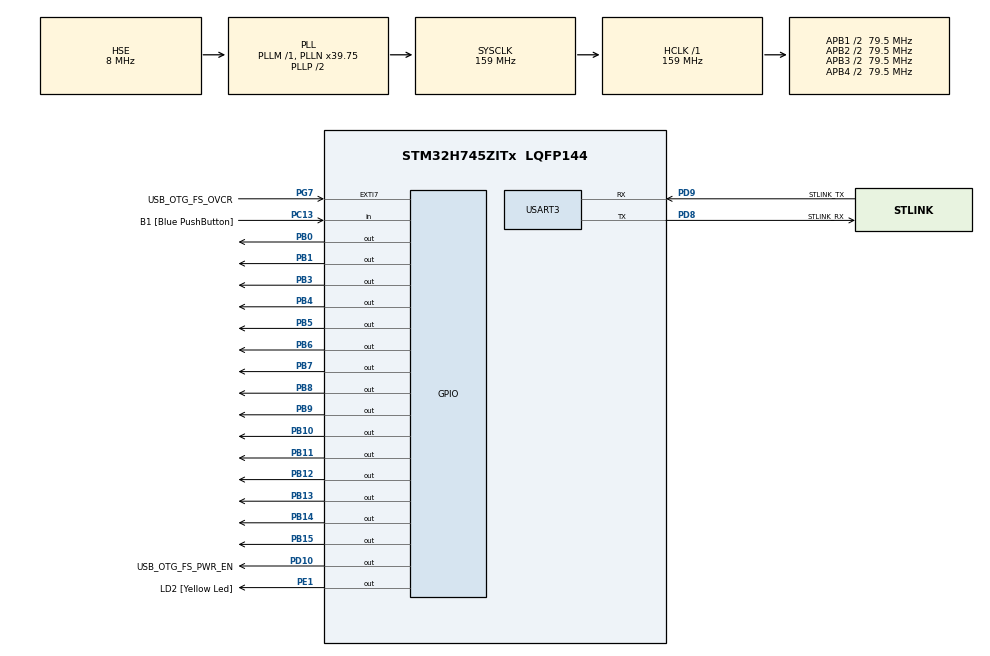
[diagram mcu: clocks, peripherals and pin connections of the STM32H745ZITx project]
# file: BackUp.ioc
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CortexM4.IPs=FATFS_M4\:I,FREERTOS_M4\:I,IWDG2\:I,RCC,WWDG2\:I,DMA,BDMA,MDMA,NVIC2\:I,USART3,DEBUG,USB_DEVICE_M4\:I,USB_HOST_M4\:I,PDM2PCM_M4\:I,PWR,RESMGR_UTILITY,SYS_M4\:I,CORTEX_M4\:I,OPENAMP_M4\:I,VREFBUF,GPIO
CortexM7.IPs=FATFS_M7\:I,FREERTOS_M7\:I,IWDG1\:I,RCC\:I,WWDG1\:I,DMA\:I,BDMA\:I,MDMA\:I,NVIC1\:I,SYS\:I,USART3\:I,CORTEX_M7\:I,DEBUG\:I,USB_DEVICE_M7\:I,USB_HOST_M7\:I,PDM2PCM_M7\:I,PWR\:I,RESMGR_UTILITY\:I,OPENAMP_M7\:I,VREFBUF\:I,GPIO\:I,TIM3\:I
CortexM7.Pins=PB0,PB1,PB10,PB11,PB12,PB13,PB14,PB15,PB3 (JTDO/TRACESWO),PB4 (NJTRST),PB5,PB6,PB7,PB8,PB9
Dma.Request0=TIM3_CH1
Dma.TIM3_CH1.0.Direction=DMA_MEMORY_TO_PERIPH
Dma.TIM3_CH1.0.EventEnable=DISABLE
Dma.TIM3_CH1.0.FIFOMode=DMA_FIFOMODE_DISABLE
Dma.TIM3_CH1.0.Instance=DMA1_Stream0
Dma.TIM3_CH1.0.MemDataAlignment=DMA_MDATAALIGN_HALFWORD
Dma.TIM3_CH1.0.MemInc=DMA_MINC_ENABLE
Dma.TIM3_CH1.0.Mode=DMA_CIRCULAR
Dma.TIM3_CH1.0.PeriphDataAlignment=DMA_PDATAALIGN_HALFWORD
Dma.TIM3_CH1.0.PeriphInc=DMA_PINC_DISABLE
Dma.TIM3_CH1.0.Polarity=HAL_DMAMUX_REQ_GEN_RISING
Dma.TIM3_CH1.0.Priority=DMA_PRIORITY_VERY_HIGH
Dma.TIM3_CH1.0.RequestNumber=1
Dma.TIM3_CH1.0.SignalID=NONE
Dma.TIM3_CH1.0.SyncEnable=ENABLE
Dma.TIM3_CH1.0.SyncPolarity=HAL_DMAMUX_SYNC_RISING
Dma.TIM3_CH1.0.SyncRequestNumber=1
Dma.TIM3_CH1.0.SyncSignalID=NONE
Mcu.Family=STM32H7
Mcu.Name=STM32H745ZITx
Mcu.Package=LQFP144
NVIC1.DMA1_Stream0_IRQn=true\:0\:0\:false\:false\:true\:false\:true\:true
NVIC1.PriorityGroup=NVIC_PRIORITYGROUP_4
NVIC2.PriorityGroup=NVIC_PRIORITYGROUP_4
PB0.GPIO_ModeDefaultOutputPP=GPIO_MODE_OUTPUT_PP
PB0.GPIO_PuPd=GPIO_NOPULL
PB0.GPIO_Speed=GPIO_SPEED_FREQ_VERY_HIGH
PB0.PinAttribute=CortexM7
PB0.PinState=GPIO_PIN_SET
PB0.Signal=GPIO_Output
PB1.GPIO_ModeDefaultOutputPP=GPIO_MODE_OUTPUT_PP
PB1.GPIO_PuPd=GPIO_NOPULL
PB1.GPIO_Speed=GPIO_SPEED_FREQ_VERY_HIGH
PB1.PinAttribute=CortexM7
PB1.PinState=GPIO_PIN_SET
PB1.Signal=GPIO_Output
PB10.GPIO_ModeDefaultOutputPP=GPIO_MODE_OUTPUT_PP
PB10.GPIO_PuPd=GPIO_NOPULL
PB10.GPIO_Speed=GPIO_SPEED_FREQ_VERY_HIGH
PB10.PinAttribute=CortexM7
PB10.PinState=GPIO_PIN_RESET
PB10.Signal=GPIO_Output
PB11.GPIO_ModeDefaultOutputPP=GPIO_MODE_OUTPUT_PP
PB11.GPIO_PuPd=GPIO_NOPULL
PB11.GPIO_Speed=GPIO_SPEED_FREQ_VERY_HIGH
PB11.PinAttribute=CortexM7
PB11.PinState=GPIO_PIN_RESET
PB11.Signal=GPIO_Output
PB12.GPIO_ModeDefaultOutputPP=GPIO_MODE_OUTPUT_PP
PB12.GPIO_PuPd=GPIO_NOPULL
PB12.GPIO_Speed=GPIO_SPEED_FREQ_VERY_HIGH
PB12.PinAttribute=CortexM7
PB12.PinState=GPIO_PIN_RESET
PB12.Signal=GPIO_Output
PB13.GPIO_ModeDefaultOutputPP=GPIO_MODE_OUTPUT_PP
PB13.GPIO_PuPd=GPIO_NOPULL
PB13.GPIO_Speed=GPIO_SPEED_FREQ_VERY_HIGH
PB13.PinAttribute=CortexM7
PB13.PinState=GPIO_PIN_RESET
PB13.Signal=GPIO_Output
PB14.GPIO_ModeDefaultOutputPP=GPIO_MODE_OUTPUT_PP
PB14.GPIO_PuPd=GPIO_NOPULL
PB14.GPIO_Speed=GPIO_SPEED_FREQ_VERY_HIGH
PB14.PinAttribute=CortexM7
PB14.PinState=GPIO_PIN_RESET
PB14.Signal=GPIO_Output
PB15.GPIO_ModeDefaultOutputPP=GPIO_MODE_OUTPUT_PP
PB15.GPIO_PuPd=GPIO_NOPULL
PB15.GPIO_Speed=GPIO_SPEED_FREQ_VERY_HIGH
PB15.PinAttribute=CortexM7
PB15.PinState=GPIO_PIN_RESET
PB15.Signal=GPIO_Output
PB3\ (JTDO/TRACESWO).GPIO_ModeDefaultOutputPP=GPIO_MODE_OUTPUT_PP
PB3\ (JTDO/TRACESWO).GPIO_PuPd=GPIO_NOPULL
PB3\ (JTDO/TRACESWO).GPIO_Speed=GPIO_SPEED_FREQ_VERY_HIGH
PB3\ (JTDO/TRACESWO).PinAttribute=CortexM7
PB3\ (JTDO/TRACESWO).PinState=GPIO_PIN_RESET
PB3\ (JTDO/TRACESWO).Signal=GPIO_Output
PB4\ (NJTRST).GPIO_ModeDefaultOutputPP=GPIO_MODE_OUTPUT_PP
PB4\ (NJTRST).GPIO_PuPd=GPIO_NOPULL
PB4\ (NJTRST).GPIO_Speed=GPIO_SPEED_FREQ_VERY_HIGH
PB4\ (NJTRST).PinAttribute=CortexM7
PB4\ (NJTRST).PinState=GPIO_PIN_RESET
PB4\ (NJTRST).Signal=GPIO_Output
PB5.GPIO_ModeDefaultOutputPP=GPIO_MODE_OUTPUT_PP
PB5.GPIO_PuPd=GPIO_NOPULL
PB5.GPIO_Speed=GPIO_SPEED_FREQ_VERY_HIGH
PB5.PinAttribute=CortexM7
PB5.PinState=GPIO_PIN_RESET
PB5.Signal=GPIO_Output
PB6.GPIO_ModeDefaultOutputPP=GPIO_MODE_OUTPUT_PP
PB6.GPIO_PuPd=GPIO_NOPULL
PB6.GPIO_Speed=GPIO_SPEED_FREQ_VERY_HIGH
PB6.PinAttribute=CortexM7
PB6.PinState=GPIO_PIN_RESET
PB6.Signal=GPIO_Output
PB7.GPIO_ModeDefaultOutputPP=GPIO_MODE_OUTPUT_PP
PB7.GPIO_PuPd=GPIO_NOPULL
PB7.GPIO_Speed=GPIO_SPEED_FREQ_VERY_HIGH
PB7.PinAttribute=CortexM7
PB7.PinState=GPIO_PIN_RESET
PB7.Signal=GPIO_Output
PB8.GPIO_ModeDefaultOutputPP=GPIO_MODE_OUTPUT_PP
PB8.GPIO_PuPd=GPIO_NOPULL
PB8.GPIO_Speed=GPIO_SPEED_FREQ_VERY_HIGH
PB8.PinAttribute=CortexM7
PB8.PinState=GPIO_PIN_RESET
PB8.Signal=GPIO_Output
PB9.GPIO_ModeDefaultOutputPP=GPIO_MODE_OUTPUT_PP
PB9.GPIO_PuPd=GPIO_NOPULL
PB9.GPIO_Speed=GPIO_SPEED_FREQ_VERY_HIGH
PB9.PinAttribute=CortexM7
PB9.PinState=GPIO_PIN_RESET
PB9.Signal=GPIO_Output
PC13.GPIO_Label=B1 [Blue PushButton]
PC13.PinAttribute=Free
PC13.Signal=GPIO_Input
PC14-OSC32_IN\ (OSC32_IN).Mode=LSE-External-Oscillator
PC14-OSC32_IN\ (OSC32_IN).PinAttribute=CortexM7
PC14-OSC32_IN\ (OSC32_IN).Signal=RCC_OSC32_IN
PC15-OSC32_OUT\ (OSC32_OUT).Mode=LSE-External-Oscillator
PC15-OSC32_OUT\ (OSC32_OUT).PinAttribute=CortexM7
PC15-OSC32_OUT\ (OSC32_OUT).Signal=RCC_OSC32_OUT
PD10.GPIO_Label=USB_OTG_FS_PWR_EN
PD10.PinAttribute=Free
PD10.Signal=GPIO_Output
PD8.GPIO_Label=STLINK_RX
PD8.Mode=Asynchronous
PD8.PinAttribute=CortexM7
PD8.Signal=USART3_TX
PD9.GPIO_Label=STLINK_TX
PD9.Mode=Asynchronous
PD9.PinAttribute=CortexM7
PD9.Signal=USART3_RX
PE1.GPIO_Label=LD2 [Yellow Led]
PE1.PinAttribute=Free
PE1.Signal=GPIO_Output
PG7.GPIO_Label=USB_OTG_FS_OVCR
PG7.PinAttribute=Free
PG7.Signal=GPXTI7
PH0-OSC_IN\ (PH0).Mode=HSE-External-Clock-Source
PH0-OSC_IN\ (PH0).PinAttribute=CortexM7
PH0-OSC_IN\ (PH0).Signal=RCC_OSC_IN
PH1-OSC_OUT\ (PH1).PinAttribute=CortexM7
PH1-OSC_OUT\ (PH1).Signal=RCC_OSC_OUT
ProjectManager.HeapSize=M4-0x200,M7-0x200
ProjectManager.StackSize=M4-0x400,M7-0x400
ProjectManager.TargetToolchain=STM32CubeIDE
RCC.ADCFreq_Value=75000000
RCC.APB1Freq_Value=79500000
RCC.APB2Freq_Value=79500000
RCC.APB3Freq_Value=79500000
RCC.APB4Freq_Value=79500000
RCC.CortexFreq_Value=159000000
RCC.D1PPRE=RCC_APB3_DIV2
RCC.D2PPRE1=RCC_APB1_DIV2
RCC.D2PPRE2=RCC_APB2_DIV2
RCC.D3PPRE=RCC_APB4_DIV2
RCC.DIVM1=1
RCC.DIVM2=1
RCC.DIVM3=1
RCC.DIVN1=39
RCC.DIVN2=18
RCC.DIVN3=18
RCC.DIVQ2=3
RCC.DIVQ3=3
RCC.HCLKFreq_Value=159000000
RCC.HSE_VALUE=8000000
RCC.PLL2FRACN=6144
RCC.PLL3FRACN=6144
RCC.PLLFRACN=6144
RCC.PLLSourceVirtual=RCC_PLLSOURCE_HSE
RCC.SYSCLKFreq_VALUE=159000000
RCC.SYSCLKSource=RCC_SYSCLKSOURCE_PLLCLK
RCC.SupplySource=PWR_DIRECT_SMPS_SUPPLY
RCC.USART234578CLockSelection=RCC_USART234578CLKSOURCE_PLL2
RCC.USBCLockSelection=RCC_USBCLKSOURCE_PLL3
RCC.USBFreq_Value=50000000
TIM3.Channel-Output\ Compare1\ No\ Output=TIM_CHANNEL_1
TIM3.Period=12
USART3.VirtualMode-Asynchronous=VM_ASYNC
VP_SYS_M4_VS_Systick.Mode=SysTick
VP_TIM3_VS_ClockSourceINT.Mode=Internal
VP_TIM3_VS_no_output1.Mode=Output Compare1 No Output
board=NUCLEO-H745ZI-Q

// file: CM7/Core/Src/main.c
/* USER CODE BEGIN Header */
/**
  ******************************************************************************
  * @file           : main.c
  * @brief          : Main program body
  ******************************************************************************
  * @attention
  *
  * Copyright (c) 2024 STMicroelectronics.
  * All rights reserved.
  *
  * This software is licensed under terms that can be found in the LICENSE file
  * in the root directory of this software component.
  * If no LICENSE file comes with this software, it is provided AS-IS.
  *
  ******************************************************************************
  */
/* USER CODE END Header */
#include "main.h"

/* USER CODE BEGIN Includes */
#include "frame.h"
/* USER CODE END Includes */

/* USER CODE BEGIN PD */

#ifndef HSEM_ID_0
#define HSEM_ID_0 (0U) /* HW semaphore 0*/
#endif

/* USER CODE END PD */

TIM_HandleTypeDef htim3;
DMA_HandleTypeDef hdma_tim3_ch1;

UART_HandleTypeDef huart3;

/* USER CODE BEGIN PV */
volatile uint16_t line = 0;
volatile uint16_t scanline[400] = {0};

/* USER CODE END PV */

void SystemClock_Config(void);
static void MX_GPIO_Init(void);
static void MX_DMA_Init(void);
static void MX_TIM3_Init(void);
static void MX_USART3_UART_Init(void);
/* USER CODE BEGIN PFP */
void end_of_scanline();
void half_of_scanline();
/* USER CODE END PFP */

int main(void)
{
/* USER CODE BEGIN Boot_Mode_Sequence_0 */
  int32_t timeout;
/* USER CODE END Boot_Mode_Sequence_0 */

/* USER CODE BEGIN Boot_Mode_Sequence_1 */
  /* Wait until CPU2 boots and enters in stop mode or timeout*/
  timeout = 0xFFFF;
  while((__HAL_RCC_GET_FLAG(RCC_FLAG_D2CKRDY) != RESET) && (timeout-- > 0));
  if ( timeout < 0 )
  {
  Error_Handler();
  }
/* USER CODE END Boot_Mode_Sequence_1 */
  /* MCU Configuration--------------------------------------------------------*/

  /* Reset of all peripherals, Initializes the Flash interface and the Systick. */
  HAL_Init();

  /* Configure the system clock */
  SystemClock_Config();
/* USER CODE BEGIN Boot_Mode_Sequence_2 */
/* When system initialization is finished, Cortex-M7 will release Cortex-M4 by means of
HSEM notification */
/*HW semaphore Clock enable*/
__HAL_RCC_HSEM_CLK_ENABLE();
/*Take HSEM */
HAL_HSEM_FastTake(HSEM_ID_0);
/*Release HSEM in order to notify the CPU2(CM4)*/
HAL_HSEM_Release(HSEM_ID_0,0);
/* wait until CPU2 wakes up from stop mode */
timeout = 0xFFFF;
while((__HAL_RCC_GET_FLAG(RCC_FLAG_D2CKRDY) == RESET) && (timeout-- > 0));
if ( timeout < 0 )
{
Error_Handler();
}
/* USER CODE END Boot_Mode_Sequence_2 */

  /* Initialize all configured peripherals */
  MX_GPIO_Init();
  MX_DMA_Init();
  MX_TIM3_Init();
  MX_USART3_UART_Init();
  /* USER CODE BEGIN 2 */
  hdma_tim3_ch1.XferHalfCpltCallback = half_of_scanline;
  hdma_tim3_ch1.XferCpltCallback = end_of_scanline;

  TIM3->DIER |= 1 << 14;
  TIM3->DIER |= 1 << 9;
  DMA1_Stream0->CR |= DMA_SxCR_HTIE;

  HAL_TIM_Base_Start(&htim3);
  HAL_TIM_OC_Start(&htim3, TIM_CHANNEL_1);
  HAL_DMAEx_MultiBufferStart_IT(&hdma_tim3_ch1, (uint32_t)frame, (uint32_t)&GPIOB->ODR, (uint32_t)(frame + 400), 400);
  line = line + 2;
  __HAL_TIM_ENABLE_DMA(&htim3, TIM_DMA_CC1);

  /* USER CODE END 2 */

  /* Infinite loop */
  while (1)
  {

  }
}

void SystemClock_Config(void)
{
  RCC_OscInitTypeDef RCC_OscInitStruct = {0};
  RCC_ClkInitTypeDef RCC_ClkInitStruct = {0};

  /** Supply configuration update enable
  */
  HAL_PWREx_ConfigSupply(PWR_DIRECT_SMPS_SUPPLY);

  /** Configure the main internal regulator output voltage
  */
  __HAL_PWR_VOLTAGESCALING_CONFIG(PWR_REGULATOR_VOLTAGE_SCALE3);

  while(!__HAL_PWR_GET_FLAG(PWR_FLAG_VOSRDY)) {}

  /** Initializes the RCC Oscillators according to the specified parameters
  * in the RCC_OscInitTypeDef structure.
  */
  RCC_OscInitStruct.OscillatorType = RCC_OSCILLATORTYPE_HSE;
  RCC_OscInitStruct.HSEState = RCC_HSE_BYPASS;
  RCC_OscInitStruct.PLL.PLLState = RCC_PLL_ON;
  RCC_OscInitStruct.PLL.PLLSource = RCC_PLLSOURCE_HSE;
  RCC_OscInitStruct.PLL.PLLM = 1;
  RCC_OscInitStruct.PLL.PLLN = 39;
  RCC_OscInitStruct.PLL.PLLP = 2;
  RCC_OscInitStruct.PLL.PLLQ = 2;
  RCC_OscInitStruct.PLL.PLLR = 2;
  RCC_OscInitStruct.PLL.PLLRGE = RCC_PLL1VCIRANGE_3;
  RCC_OscInitStruct.PLL.PLLVCOSEL = RCC_PLL1VCOWIDE;
  RCC_OscInitStruct.PLL.PLLFRACN = 6144;
  if (HAL_RCC_OscConfig(&RCC_OscInitStruct) != HAL_OK)
  {
    Error_Handler();
  }

  /** Initializes the CPU, AHB and APB buses clocks
  */
  RCC_ClkInitStruct.ClockType = RCC_CLOCKTYPE_HCLK|RCC_CLOCKTYPE_SYSCLK
                              |RCC_CLOCKTYPE_PCLK1|RCC_CLOCKTYPE_PCLK2
                              |RCC_CLOCKTYPE_D3PCLK1|RCC_CLOCKTYPE_D1PCLK1;
  RCC_ClkInitStruct.SYSCLKSource = RCC_SYSCLKSOURCE_PLLCLK;
  RCC_ClkInitStruct.SYSCLKDivider = RCC_SYSCLK_DIV1;
  RCC_ClkInitStruct.AHBCLKDivider = RCC_HCLK_DIV1;
  RCC_ClkInitStruct.APB3CLKDivider = RCC_APB3_DIV2;
  RCC_ClkInitStruct.APB1CLKDivider = RCC_APB1_DIV2;
  RCC_ClkInitStruct.APB2CLKDivider = RCC_APB2_DIV2;
  RCC_ClkInitStruct.APB4CLKDivider = RCC_APB4_DIV2;

  if (HAL_RCC_ClockConfig(&RCC_ClkInitStruct, FLASH_LATENCY_3) != HAL_OK)
  {
    Error_Handler();
  }
}

static void MX_TIM3_Init(void)
{

  TIM_ClockConfigTypeDef sClockSourceConfig = {0};
  TIM_MasterConfigTypeDef sMasterConfig = {0};
  TIM_OC_InitTypeDef sConfigOC = {0};

  htim3.Instance = TIM3;
  htim3.Init.Prescaler = 0;
  htim3.Init.CounterMode = TIM_COUNTERMODE_UP;
  htim3.Init.Period = 12;
  htim3.Init.ClockDivision = TIM_CLOCKDIVISION_DIV1;
  htim3.Init.AutoReloadPreload = TIM_AUTORELOAD_PRELOAD_DISABLE;
  if (HAL_TIM_Base_Init(&htim3) != HAL_OK)
  {
    Error_Handler();
  }
  sClockSourceConfig.ClockSource = TIM_CLOCKSOURCE_INTERNAL;
  if (HAL_TIM_ConfigClockSource(&htim3, &sClockSourceConfig) != HAL_OK)
  {
    Error_Handler();
  }
  if (HAL_TIM_OC_Init(&htim3) != HAL_OK)
  {
    Error_Handler();
  }
  sMasterConfig.MasterOutputTrigger = TIM_TRGO_RESET;
  sMasterConfig.MasterSlaveMode = TIM_MASTERSLAVEMODE_DISABLE;
  if (HAL_TIMEx_MasterConfigSynchronization(&htim3, &sMasterConfig) != HAL_OK)
  {
    Error_Handler();
  }
  sConfigOC.OCMode = TIM_OCMODE_TIMING;
  sConfigOC.Pulse = 0;
  sConfigOC.OCPolarity = TIM_OCPOLARITY_HIGH;
  sConfigOC.OCFastMode = TIM_OCFAST_DISABLE;
  if (HAL_TIM_OC_ConfigChannel(&htim3, &sConfigOC, TIM_CHANNEL_1) != HAL_OK)
  {
    Error_Handler();
  }

}

static void MX_USART3_UART_Init(void)
{

  huart3.Instance = USART3;
  huart3.Init.BaudRate = 115200;
  huart3.Init.WordLength = UART_WORDLENGTH_8B;
  huart3.Init.StopBits = UART_STOPBITS_1;
  huart3.Init.Parity = UART_PARITY_NONE;
  huart3.Init.Mode = UART_MODE_TX_RX;
  huart3.Init.HwFlowCtl = UART_HWCONTROL_NONE;
  huart3.Init.OverSampling = UART_OVERSAMPLING_16;
  huart3.Init.OneBitSampling = UART_ONE_BIT_SAMPLE_DISABLE;
  huart3.Init.ClockPrescaler = UART_PRESCALER_DIV1;
  huart3.AdvancedInit.AdvFeatureInit = UART_ADVFEATURE_NO_INIT;
  if (HAL_UART_Init(&huart3) != HAL_OK)
  {
    Error_Handler();
  }
  if (HAL_UARTEx_SetTxFifoThreshold(&huart3, UART_TXFIFO_THRESHOLD_1_8) != HAL_OK)
  {
    Error_Handler();
  }
  if (HAL_UARTEx_SetRxFifoThreshold(&huart3, UART_RXFIFO_THRESHOLD_1_8) != HAL_OK)
  {
    Error_Handler();
  }
  if (HAL_UARTEx_DisableFifoMode(&huart3) != HAL_OK)
  {
    Error_Handler();
  }

}

static void MX_DMA_Init(void)
{

  /* DMA controller clock enable */
  __HAL_RCC_DMA1_CLK_ENABLE();

  /* DMA interrupt init */
  /* DMA1_Stream0_IRQn interrupt configuration */
  HAL_NVIC_SetPriority(DMA1_Stream0_IRQn, 0, 0);
  HAL_NVIC_EnableIRQ(DMA1_Stream0_IRQn);

}

static void MX_GPIO_Init(void)
{
  GPIO_InitTypeDef GPIO_InitStruct = {0};

  /* GPIO Ports Clock Enable */
  __HAL_RCC_GPIOC_CLK_ENABLE();
  __HAL_RCC_GPIOH_CLK_ENABLE();
  __HAL_RCC_GPIOB_CLK_ENABLE();
  __HAL_RCC_GPIOD_CLK_ENABLE();

  /*Configure GPIO pin Output Level */
  HAL_GPIO_WritePin(GPIOB, GPIO_PIN_0|GPIO_PIN_1, GPIO_PIN_SET);

  /*Configure GPIO pin Output Level */
  HAL_GPIO_WritePin(GPIOB, GPIO_PIN_10|GPIO_PIN_11|GPIO_PIN_12|GPIO_PIN_13
                          |GPIO_PIN_14|GPIO_PIN_15|GPIO_PIN_3|GPIO_PIN_4
                          |GPIO_PIN_5|GPIO_PIN_6|GPIO_PIN_7|GPIO_PIN_8
                          |GPIO_PIN_9, GPIO_PIN_RESET);

  /*Configure GPIO pins : PB0 PB1 PB10 PB11
                           PB12 PB13 PB14 PB15
                           PB3 PB4 PB5 PB6
                           PB7 PB8 PB9 */
  GPIO_InitStruct.Pin = GPIO_PIN_0|GPIO_PIN_1|GPIO_PIN_10|GPIO_PIN_11
                          |GPIO_PIN_12|GPIO_PIN_13|GPIO_PIN_14|GPIO_PIN_15
                          |GPIO_PIN_3|GPIO_PIN_4|GPIO_PIN_5|GPIO_PIN_6
                          |GPIO_PIN_7|GPIO_PIN_8|GPIO_PIN_9;
  GPIO_InitStruct.Mode = GPIO_MODE_OUTPUT_PP;
  GPIO_InitStruct.Pull = GPIO_NOPULL;
  GPIO_InitStruct.Speed = GPIO_SPEED_FREQ_VERY_HIGH;
  HAL_GPIO_Init(GPIOB, &GPIO_InitStruct);

}

/* USER CODE BEGIN 4 */
void half_of_scanline(){
	__HAL_DMA_CLEAR_FLAG(&hdma_tim3_ch1, DMA_FLAG_HTIF0_4);

	line++;

	if(line >= 525){
		line = 0;
	}

	if((DMA1_Stream0->CR & DMA_SxCR_CT)){
		HAL_DMAEx_ChangeMemory(&hdma_tim3_ch1, (uint32_t)(frame + (line * 400)), MEMORY0);

	}
	else{
		HAL_DMAEx_ChangeMemory(&hdma_tim3_ch1, (uint32_t)(frame + (line * 400)), MEMORY1);
	}
}
void end_of_scanline(){

	__HAL_DMA_CLEAR_FLAG(&hdma_tim3_ch1, DMA_FLAG_TCIF0_4);

	line++;

	if(line >= 525){
		line = 0;
	}

	if((DMA1_Stream0->CR & DMA_SxCR_CT)){
		HAL_DMAEx_ChangeMemory(&hdma_tim3_ch1, (uint32_t)(frame + (line * 400)), MEMORY0);

	}
	else{
		HAL_DMAEx_ChangeMemory(&hdma_tim3_ch1, (uint32_t)(frame + (line * 400)), MEMORY1);
	}

}

/* USER CODE END 4 */

void Error_Handler(void)
{
  __disable_irq();
  while (1)
  {
  }
}
